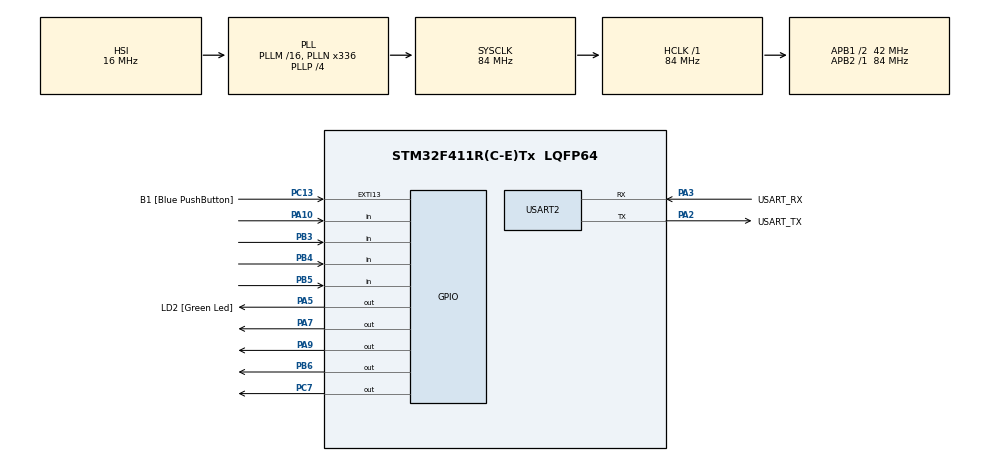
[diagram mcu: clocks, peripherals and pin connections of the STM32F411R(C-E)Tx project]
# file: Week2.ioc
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Mcu.Family=STM32F4
Mcu.Name=STM32F411R(C-E)Tx
Mcu.Package=LQFP64
NVIC.PriorityGroup=NVIC_PRIORITYGROUP_0
PA10.GPIO_PuPd=GPIO_PULLUP
PA10.Signal=GPIO_Input
PA13.GPIO_Label=TMS
PA13.Mode=Serial_Wire
PA13.Signal=SYS_JTMS-SWDIO
PA14.GPIO_Label=TCK
PA14.Mode=Serial_Wire
PA14.Signal=SYS_JTCK-SWCLK
PA2.GPIO_Label=USART_TX
PA2.Mode=Asynchronous
PA2.Signal=USART2_TX
PA3.GPIO_Label=USART_RX
PA3.Mode=Asynchronous
PA3.Signal=USART2_RX
PA5.GPIO_Label=LD2 [Green Led]
PA5.Signal=GPIO_Output
PA7.GPIO_ModeDefaultOutputPP=GPIO_MODE_OUTPUT_OD
PA7.PinState=GPIO_PIN_SET
PA7.Signal=GPIO_Output
PA9.GPIO_ModeDefaultOutputPP=GPIO_MODE_OUTPUT_OD
PA9.PinState=GPIO_PIN_SET
PA9.Signal=GPIO_Output
PB3.GPIO_PuPd=GPIO_PULLUP
PB3.Signal=GPIO_Input
PB4.GPIO_PuPd=GPIO_PULLUP
PB4.Signal=GPIO_Input
PB5.GPIO_PuPd=GPIO_PULLUP
PB5.Signal=GPIO_Input
PB6.GPIO_ModeDefaultOutputPP=GPIO_MODE_OUTPUT_OD
PB6.PinState=GPIO_PIN_SET
PB6.Signal=GPIO_Output
PC13-ANTI_TAMP.GPIO_Label=B1 [Blue PushButton]
PC13-ANTI_TAMP.GPIO_ModeDefaultEXTI=GPIO_MODE_IT_FALLING
PC13-ANTI_TAMP.Signal=GPXTI13
PC14-OSC32_IN.Mode=LSE-External-Oscillator
PC14-OSC32_IN.Signal=RCC_OSC32_IN
PC15-OSC32_OUT.Mode=LSE-External-Oscillator
PC15-OSC32_OUT.Signal=RCC_OSC32_OUT
PC7.GPIO_ModeDefaultOutputPP=GPIO_MODE_OUTPUT_OD
PC7.PinState=GPIO_PIN_SET
PC7.Signal=GPIO_Output
PH0\ -\ OSC_IN.Mode=HSE-External-Clock-Source
PH0\ -\ OSC_IN.Signal=RCC_OSC_IN
PH1\ -\ OSC_OUT.Mode=HSE-External-Clock-Source
PH1\ -\ OSC_OUT.Signal=RCC_OSC_OUT
ProjectManager.HeapSize=0x200
ProjectManager.StackSize=0x400
ProjectManager.TargetToolchain=STM32CubeIDE
RCC.48MHZClocksFreq_Value=84000000
RCC.AHBFreq_Value=84000000
RCC.APB1CLKDivider=RCC_HCLK_DIV2
RCC.APB1Freq_Value=42000000
RCC.APB1TimFreq_Value=84000000
RCC.APB2Freq_Value=84000000
RCC.APB2TimFreq_Value=84000000
RCC.CortexFreq_Value=84000000
RCC.FLatency-AdvancedSettings=FLASH_LATENCY_2
RCC.HCLKFreq_Value=84000000
RCC.HSE_VALUE=8000000
RCC.HSI_VALUE=16000000
RCC.PLLN=336
RCC.PLLP=RCC_PLLP_DIV4
RCC.SYSCLKFreq_VALUE=84000000
RCC.SYSCLKSource=RCC_SYSCLKSOURCE_PLLCLK
RCC.VCOOutputFreq_Value=336000000
USART2.VirtualMode=VM_ASYNC
board=NUCLEO-F411RE

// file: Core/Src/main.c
/* USER CODE BEGIN Header */
/**
  ******************************************************************************
  * @file           : main.c
  * @brief          : Main program body
  ******************************************************************************
  * @attention
  *
  * <h2><center>&copy; Copyright (c) 2021 STMicroelectronics.
  * All rights reserved.</center></h2>
  *
  * This software component is licensed by ST under BSD 3-Clause license,
  * the "License"; You may not use this file except in compliance with the
  * License. You may obtain a copy of the License at:
  *                        opensource.org/licenses/BSD-3-Clause
  *
  ******************************************************************************
  */
/* USER CODE END Header */
#include "main.h"

UART_HandleTypeDef huart2;

/* USER CODE BEGIN PV */

uint32_t ButtonMatrixState = 0;  // save status of Button Matrix
uint32_t ButtonMatrixtimestamp = 0;  // Button TimeStamp
uint32_t timestamp = 0;
GPIO_TypeDef *CheckID[11] = {0};
uint16_t count = 0;

/* USER CODE END PV */

void SystemClock_Config(void);
static void MX_GPIO_Init(void);
static void MX_USART2_UART_Init(void);
/* USER CODE BEGIN PFP */
// scan and update data of Button Matrix
void ButtonMatrixUpdate();
/* USER CODE END PFP */

int main(void)
{

  /* MCU Configuration--------------------------------------------------------*/

  /* Reset of all peripherals, Initializes the Flash interface and the Systick. */
  HAL_Init();

  /* Configure the system clock */
  SystemClock_Config();

  /* Initialize all configured peripherals */
  MX_GPIO_Init();
  MX_USART2_UART_Init();

  /* Infinite loop */
  while (1)
  {

    /* USER CODE BEGIN 3 */
	  //function button

	  ButtonMatrixUpdate();
	 if (HAL_GetTick() - timestamp >= 500)
	 {
		 if (ButtonMatrixState == 4096) //0
		  {
			  timestamp = HAL_GetTick();
			  CheckID[count] = 0;
			  count += 1;
		  }
		  if (ButtonMatrixState == 256) //1
			  {
				  timestamp = HAL_GetTick();
				  CheckID[count] = 1;
				  count += 1;
			  }
		  if (ButtonMatrixState == 512) //2
		  {
			  timestamp = HAL_GetTick();
			  CheckID[count] = 2;
			  count += 1;
		  }
		  if (ButtonMatrixState == 1024) //3
		  {
			  timestamp = HAL_GetTick();
			  CheckID[count] = 3;
			  count += 1;
		  }
		  if (ButtonMatrixState == 16) //4
		  {
			  timestamp = HAL_GetTick();
			  CheckID[count] = 4;
			  count += 1;
		  }
		  if (ButtonMatrixState == 32) //5
		  {
			  timestamp = HAL_GetTick();
			  CheckID[count] = 5;
			  count += 1;
		  }
		  if (ButtonMatrixState == 64) //6
		  {
			  timestamp = HAL_GetTick();
			  CheckID[count] = 6;
			  count += 1;
		  }
		  if (ButtonMatrixState == 1) //7
		  {
			  timestamp = HAL_GetTick();
			  CheckID[count] = 7;
			  count += 1;
		  }
		  if (ButtonMatrixState == 2) //8
		  {
			  timestamp = HAL_GetTick();
			  CheckID[count] = 8;
			  count += 1;
		  }
		  if (ButtonMatrixState == 4) //9
		  {
			  timestamp = HAL_GetTick();
			  CheckID[count] = 9;
			  count += 1;
		  }

		  // Press OK
		  if (ButtonMatrixState == 32768)
		  {
			  timestamp = HAL_GetTick();
			  if (CheckID[0] == 6 && CheckID[1] == 2 && CheckID[2] == 3 && CheckID[3] == 4 && CheckID[4] == 0 && CheckID[5] == 5 &&
				  CheckID[6] == 0 && CheckID[7] == 0 && CheckID[8] == 0 && CheckID[9] == 5 && CheckID[10] == 6)
			  {
				  HAL_GPIO_WritePin(GPIOA, GPIO_PIN_5, GPIO_PIN_SET);
			  }
			  else
			  {
				  HAL_GPIO_WritePin(GPIOA, GPIO_PIN_5, GPIO_PIN_RESET);
			  }
		  }

		  // Press Clear
		if (ButtonMatrixState == 8)
		{
			  timestamp = HAL_GetTick();
			  CheckID[0] = 0;
			  CheckID[1] = 0;
			  CheckID[2] = 0;
			  CheckID[3] = 0;
			  CheckID[4] = 0;
			  CheckID[5] = 0;
			  CheckID[6] = 0;
			  CheckID[7] = 0;
			  CheckID[8] = 0;
			  CheckID[9] = 0;
			  CheckID[10] = 0;
			  count= 0;
			  HAL_GPIO_WritePin(GPIOA, GPIO_PIN_5, GPIO_PIN_RESET);
		}
	  }
  }
  /* USER CODE END 3 */
}

void SystemClock_Config(void)
{
  RCC_OscInitTypeDef RCC_OscInitStruct = {0};
  RCC_ClkInitTypeDef RCC_ClkInitStruct = {0};

  /** Configure the main internal regulator output voltage
  */
  __HAL_RCC_PWR_CLK_ENABLE();
  __HAL_PWR_VOLTAGESCALING_CONFIG(PWR_REGULATOR_VOLTAGE_SCALE1);
  /** Initializes the RCC Oscillators according to the specified parameters
  * in the RCC_OscInitTypeDef structure.
  */
  RCC_OscInitStruct.OscillatorType = RCC_OSCILLATORTYPE_HSI;
  RCC_OscInitStruct.HSIState = RCC_HSI_ON;
  RCC_OscInitStruct.HSICalibrationValue = RCC_HSICALIBRATION_DEFAULT;
  RCC_OscInitStruct.PLL.PLLState = RCC_PLL_ON;
  RCC_OscInitStruct.PLL.PLLSource = RCC_PLLSOURCE_HSI;
  RCC_OscInitStruct.PLL.PLLM = 16;
  RCC_OscInitStruct.PLL.PLLN = 336;
  RCC_OscInitStruct.PLL.PLLP = RCC_PLLP_DIV4;
  RCC_OscInitStruct.PLL.PLLQ = 4;
  if (HAL_RCC_OscConfig(&RCC_OscInitStruct) != HAL_OK)
  {
    Error_Handler();
  }
  /** Initializes the CPU, AHB and APB buses clocks
  */
  RCC_ClkInitStruct.ClockType = RCC_CLOCKTYPE_HCLK|RCC_CLOCKTYPE_SYSCLK
                              |RCC_CLOCKTYPE_PCLK1|RCC_CLOCKTYPE_PCLK2;
  RCC_ClkInitStruct.SYSCLKSource = RCC_SYSCLKSOURCE_PLLCLK;
  RCC_ClkInitStruct.AHBCLKDivider = RCC_SYSCLK_DIV1;
  RCC_ClkInitStruct.APB1CLKDivider = RCC_HCLK_DIV2;
  RCC_ClkInitStruct.APB2CLKDivider = RCC_HCLK_DIV1;

  if (HAL_RCC_ClockConfig(&RCC_ClkInitStruct, FLASH_LATENCY_2) != HAL_OK)
  {
    Error_Handler();
  }
}

static void MX_USART2_UART_Init(void)
{

  huart2.Instance = USART2;
  huart2.Init.BaudRate = 115200;
  huart2.Init.WordLength = UART_WORDLENGTH_8B;
  huart2.Init.StopBits = UART_STOPBITS_1;
  huart2.Init.Parity = UART_PARITY_NONE;
  huart2.Init.Mode = UART_MODE_TX_RX;
  huart2.Init.HwFlowCtl = UART_HWCONTROL_NONE;
  huart2.Init.OverSampling = UART_OVERSAMPLING_16;
  if (HAL_UART_Init(&huart2) != HAL_OK)
  {
    Error_Handler();
  }

}

static void MX_GPIO_Init(void)
{
  GPIO_InitTypeDef GPIO_InitStruct = {0};

  /* GPIO Ports Clock Enable */
  __HAL_RCC_GPIOC_CLK_ENABLE();
  __HAL_RCC_GPIOH_CLK_ENABLE();
  __HAL_RCC_GPIOA_CLK_ENABLE();
  __HAL_RCC_GPIOB_CLK_ENABLE();

  /*Configure GPIO pin Output Level */
  HAL_GPIO_WritePin(LD2_GPIO_Port, LD2_Pin, GPIO_PIN_RESET);

  /*Configure GPIO pin Output Level */
  HAL_GPIO_WritePin(GPIOA, GPIO_PIN_7|GPIO_PIN_9, GPIO_PIN_SET);

  /*Configure GPIO pin Output Level */
  HAL_GPIO_WritePin(GPIOC, GPIO_PIN_7, GPIO_PIN_SET);

  /*Configure GPIO pin Output Level */
  HAL_GPIO_WritePin(GPIOB, GPIO_PIN_6, GPIO_PIN_SET);

  /*Configure GPIO pin : B1_Pin */
  GPIO_InitStruct.Pin = B1_Pin;
  GPIO_InitStruct.Mode = GPIO_MODE_IT_FALLING;
  GPIO_InitStruct.Pull = GPIO_NOPULL;
  HAL_GPIO_Init(B1_GPIO_Port, &GPIO_InitStruct);

  /*Configure GPIO pin : LD2_Pin */
  GPIO_InitStruct.Pin = LD2_Pin;
  GPIO_InitStruct.Mode = GPIO_MODE_OUTPUT_PP;
  GPIO_InitStruct.Pull = GPIO_NOPULL;
  GPIO_InitStruct.Speed = GPIO_SPEED_FREQ_LOW;
  HAL_GPIO_Init(LD2_GPIO_Port, &GPIO_InitStruct);

  /*Configure GPIO pins : PA7 PA9 */
  GPIO_InitStruct.Pin = GPIO_PIN_7|GPIO_PIN_9;
  GPIO_InitStruct.Mode = GPIO_MODE_OUTPUT_OD;
  GPIO_InitStruct.Pull = GPIO_NOPULL;
  GPIO_InitStruct.Speed = GPIO_SPEED_FREQ_LOW;
  HAL_GPIO_Init(GPIOA, &GPIO_InitStruct);

  /*Configure GPIO pin : PC7 */
  GPIO_InitStruct.Pin = GPIO_PIN_7;
  GPIO_InitStruct.Mode = GPIO_MODE_OUTPUT_OD;
  GPIO_InitStruct.Pull = GPIO_NOPULL;
  GPIO_InitStruct.Speed = GPIO_SPEED_FREQ_LOW;
  HAL_GPIO_Init(GPIOC, &GPIO_InitStruct);

  /*Configure GPIO pin : PA10 */
  GPIO_InitStruct.Pin = GPIO_PIN_10;
  GPIO_InitStruct.Mode = GPIO_MODE_INPUT;
  GPIO_InitStruct.Pull = GPIO_PULLUP;
  HAL_GPIO_Init(GPIOA, &GPIO_InitStruct);

  /*Configure GPIO pins : PB3 PB4 PB5 */
  GPIO_InitStruct.Pin = GPIO_PIN_3|GPIO_PIN_4|GPIO_PIN_5;
  GPIO_InitStruct.Mode = GPIO_MODE_INPUT;
  GPIO_InitStruct.Pull = GPIO_PULLUP;
  HAL_GPIO_Init(GPIOB, &GPIO_InitStruct);

  /*Configure GPIO pin : PB6 */
  GPIO_InitStruct.Pin = GPIO_PIN_6;
  GPIO_InitStruct.Mode = GPIO_MODE_OUTPUT_OD;
  GPIO_InitStruct.Pull = GPIO_NOPULL;
  GPIO_InitStruct.Speed = GPIO_SPEED_FREQ_LOW;
  HAL_GPIO_Init(GPIOB, &GPIO_InitStruct);
}

/* USER CODE BEGIN 4 */
// port/pin array, 0-3 input, 4-7 output
GPIO_TypeDef * ButtonMatrixPort[8] =
{GPIOA,GPIOB,GPIOB,GPIOB,GPIOA,GPIOC,GPIOB,GPIOA};

uint16_t ButtonMatrixPin[8] =
{GPIO_PIN_10,GPIO_PIN_3,GPIO_PIN_5,GPIO_PIN_4,
 GPIO_PIN_9,GPIO_PIN_7,GPIO_PIN_6,GPIO_PIN_7};

uint8_t ButtonMatrixRow = 0; // What R Now

void ButtonMatrixUpdate()
{
	 if (HAL_GetTick() - ButtonMatrixtimestamp >= 100)
	 {
		 ButtonMatrixtimestamp = HAL_GetTick();
		 int i;
		 for(i = 0; i<4; ++i)
		 { // 0-3
			 GPIO_PinState PinState = HAL_GPIO_ReadPin(ButtonMatrixPort[i], ButtonMatrixPin[i]);
				if (PinState == GPIO_PIN_RESET) // Button Press
				{
					ButtonMatrixState |= (uint16_t)1 << (i + ButtonMatrixRow * 4); // set bit i ==> 1
					// shift loop1-(i + 0*4 = 0-3)
					// shift loop2-(i + 1*4 = 4-7)
					// shift loop3-(i + 2*4 = 8-11)
					// shift loop4-(i + 3*4 = 12-15)
					// (i=3) 0b0000000000000000 | 0b100 ==> 0b0000000000000100
				}

				else // Button No Press
				{
					ButtonMatrixState &= ~((uint16_t)1 << (i + ButtonMatrixRow * 4)); // set bit i ==> 0
					// (i=3) 0b0000000000000000 | 0b100 ==> 0b1111111111111011
				}
		 }

		 uint8_t NowOutputPin = ButtonMatrixRow + 4;
		 // SET Rn
		 HAL_GPIO_WritePin(ButtonMatrixPort[NowOutputPin], ButtonMatrixPin[NowOutputPin], GPIO_PIN_SET);

		 // Update New Row
		 ButtonMatrixRow = (ButtonMatrixRow +1) % 4;

		 uint8_t NextOutputPin = ButtonMatrixRow + 4;
		 // RESET Rn+1
		 HAL_GPIO_WritePin(ButtonMatrixPort[NextOutputPin], ButtonMatrixPin[NextOutputPin], GPIO_PIN_RESET);

	 }
}
/* USER CODE END 4 */

void Error_Handler(void)
{
  __disable_irq();
  while (1)
  {
  }
}

/************************ (C) COPYRIGHT STMicroelectronics *****END OF FILE****/
